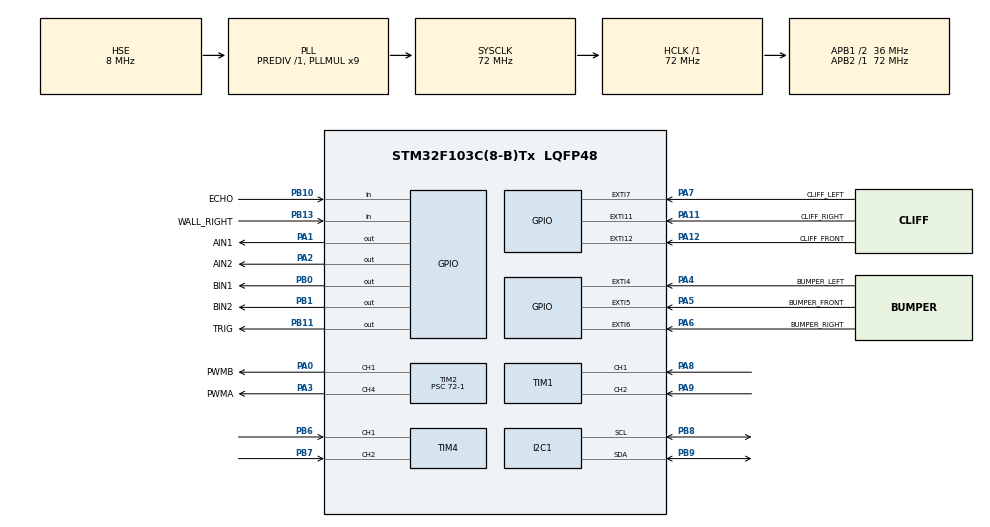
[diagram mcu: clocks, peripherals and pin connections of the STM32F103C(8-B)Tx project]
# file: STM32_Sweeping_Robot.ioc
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FREERTOS.INCLUDE_xTaskGetCurrentTaskHandle=1
FREERTOS.Tasks01=defaultTask,24,128,StartDefaultTask,Default,NULL,Dynamic,NULL,NULL;Task_Control,48,512,StartTask02,Default,NULL,Dynamic,NULL,NULL;Task_Sensor,32,256,StartTask03,Default,NULL,Dynamic,NULL,NULL;Task_Decision,24,256,StartTask04,Default,NULL,Dynamic,NULL,NULL
FREERTOS.configTOTAL_HEAP_SIZE=8192
Mcu.Family=STM32F1
Mcu.Name=STM32F103C(8-B)Tx
Mcu.Package=LQFP48
NVIC.EXTI15_10_IRQn=true\:1\:0\:true\:false\:true\:true\:true\:true\:true
NVIC.EXTI4_IRQn=true\:1\:0\:true\:false\:true\:true\:true\:true\:true
NVIC.EXTI9_5_IRQn=true\:1\:0\:true\:false\:true\:true\:true\:true\:true
NVIC.PriorityGroup=NVIC_PRIORITYGROUP_4
PA0-WKUP.GPIO_Label=PWMB
PA0-WKUP.Signal=S_TIM2_CH1_ETR
PA1.GPIO_Label=AIN1
PA1.PinState=GPIO_PIN_SET
PA1.Signal=GPIO_Output
PA11.GPIO_Label=CLIFF_RIGHT
PA11.GPIO_ModeDefaultEXTI=GPIO_MODE_IT_FALLING
PA11.GPIO_PuPd=GPIO_NOPULL
PA11.Signal=GPXTI11
PA12.GPIO_Label=CLIFF_FRONT
PA12.GPIO_ModeDefaultEXTI=GPIO_MODE_IT_FALLING
PA12.GPIO_PuPd=GPIO_NOPULL
PA12.Signal=GPXTI12
PA13.Mode=Serial_Wire
PA13.Signal=SYS_JTMS-SWDIO
PA14.Mode=Serial_Wire
PA14.Signal=SYS_JTCK-SWCLK
PA2.GPIO_Label=AIN2
PA2.Signal=GPIO_Output
PA3.GPIO_Label=PWMA
PA3.Signal=S_TIM2_CH4
PA4.GPIO_Label=BUMPER_LEFT
PA4.GPIO_ModeDefaultEXTI=GPIO_MODE_IT_FALLING
PA4.GPIO_PuPd=GPIO_PULLUP
PA4.Signal=GPXTI4
PA5.GPIO_Label=BUMPER_FRONT
PA5.GPIO_ModeDefaultEXTI=GPIO_MODE_IT_FALLING
PA5.GPIO_PuPd=GPIO_PULLUP
PA5.Signal=GPXTI5
PA6.GPIO_Label=BUMPER_RIGHT
PA6.GPIO_ModeDefaultEXTI=GPIO_MODE_IT_FALLING
PA6.GPIO_PuPd=GPIO_PULLUP
PA6.Signal=GPXTI6
PA7.GPIO_Label=CLIFF_LEFT
PA7.GPIO_ModeDefaultEXTI=GPIO_MODE_IT_FALLING
PA7.GPIO_PuPd=GPIO_NOPULL
PA7.Signal=GPXTI7
PA8.Signal=S_TIM1_CH1
PA9.Signal=S_TIM1_CH2
PB0.GPIO_Label=BIN1
PB0.Signal=GPIO_Output
PB1.GPIO_Label=BIN2
PB1.Signal=GPIO_Output
PB10.GPIO_Label=ECHO
PB10.Signal=GPIO_Input
PB11.GPIO_Label=TRIG
PB11.Signal=GPIO_Output
PB13.GPIO_Label=WALL_RIGHT
PB13.Signal=GPIO_Input
PB6.Signal=S_TIM4_CH1
PB7.Signal=S_TIM4_CH2
PB8.Mode=I2C
PB8.Signal=I2C1_SCL
PB9.Mode=I2C
PB9.Signal=I2C1_SDA
PC14-OSC32_IN.Mode=LSE-External-Oscillator
PC14-OSC32_IN.Signal=RCC_OSC32_IN
PC15-OSC32_OUT.Mode=LSE-External-Oscillator
PC15-OSC32_OUT.Signal=RCC_OSC32_OUT
PD0-OSC_IN.Mode=HSE-External-Oscillator
PD0-OSC_IN.Signal=RCC_OSC_IN
PD1-OSC_OUT.Mode=HSE-External-Oscillator
PD1-OSC_OUT.Signal=RCC_OSC_OUT
ProjectManager.HeapSize=0x200
ProjectManager.StackSize=0x400
ProjectManager.TargetToolchain=MDK-ARM V5.32
RCC.AHBFreq_Value=72000000
RCC.APB1CLKDivider=RCC_HCLK_DIV2
RCC.APB1Freq_Value=36000000
RCC.APB1TimFreq_Value=72000000
RCC.APB2Freq_Value=72000000
RCC.APB2TimFreq_Value=72000000
RCC.HCLKFreq_Value=72000000
RCC.PLLMUL=RCC_PLL_MUL9
RCC.PLLSourceVirtual=RCC_PLLSOURCE_HSE
RCC.SYSCLKFreq_VALUE=72000000
RCC.SYSCLKSource=RCC_SYSCLKSOURCE_PLLCLK
RCC.USBFreq_Value=72000000
SH.S_TIM1_CH1.0=TIM1_CH1,Encoder_Interface
SH.S_TIM1_CH2.0=TIM1_CH2,Encoder_Interface
SH.S_TIM2_CH1_ETR.0=TIM2_CH1,PWM Generation1 CH1
SH.S_TIM2_CH4.0=TIM2_CH4,PWM Generation4 CH4
SH.S_TIM4_CH1.0=TIM4_CH1,Encoder_Interface
SH.S_TIM4_CH2.0=TIM4_CH2,Encoder_Interface
TIM2.Channel-PWM\ Generation1\ CH1=TIM_CHANNEL_1
TIM2.Channel-PWM\ Generation4\ CH4=TIM_CHANNEL_4
TIM2.Period=1000-1
TIM2.Prescaler=72-1
TIM3.Prescaler=72-1
VP_FREERTOS_VS_CMSIS_V2.Mode=CMSIS_V2
VP_TIM2_VS_ClockSourceINT.Mode=Internal
VP_TIM3_VS_ClockSourceINT.Mode=Internal
board=custom

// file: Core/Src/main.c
/* USER CODE BEGIN Header */
/**
 ******************************************************************************
 * @file           : main.c
 * @brief          : Main program body
 ******************************************************************************
 * @attention
 *
 * Copyright (c) 2026 STMicroelectronics.
 * All rights reserved.
 *
 * This software is licensed under terms that can be found in the LICENSE file
 * in the root directory of this software component.
 * If no LICENSE file comes with this software, it is provided AS-IS.
 *
 ******************************************************************************
 */
/* USER CODE END Header */
#include "main.h"
#include "cmsis_os.h"
#include "gpio.h"
#include "i2c.h"
#include "tim.h"

/* USER CODE BEGIN Includes */

#include "bumper.h"
#include "cliff.h"
#include "hc_sr04.h"
#include "motor.h"
#include "mpu6050.h"
#include "navi.h"

/* USER CODE END Includes */

void SystemClock_Config(void);
void MX_FREERTOS_Init(void);

/* USER CODE BEGIN 0 */

volatile uint8_t is_crashed = 0; // 碰撞标志位（加 volatile 防优化）

// 弓字形状态机专属变量
uint8_t zigzag_state = 0; // 0:巡航直行, 1:换道第一转, 2:换道平移, 3:换道第二转
float turn_dir = 1.0f; // 转向乘数：1.0f代表向左U-Turn，-1.0f代表向右U-Turn
uint32_t last_sonar_time = 0;    // 超声波读取节拍器
uint8_t obstacle_confidence = 0; // 避障信心计数器
uint8_t wall_detected = 0; // 传感器任务通过这个变量通知决策任务

/* USER CODE END 0 */

int main(void)
{

  /* MCU Configuration--------------------------------------------------------*/

  /* Reset of all peripherals, Initializes the Flash interface and the Systick.
   */
  HAL_Init();

  /* Configure the system clock */
  SystemClock_Config();

  /* Initialize all configured peripherals */
  MX_GPIO_Init();
  MX_TIM2_Init();
  MX_TIM3_Init();
  MX_I2C1_Init();
  MX_TIM1_Init();
  MX_TIM4_Init();

  /* Init scheduler */
  osKernelInitialize();

  /* Call init function for freertos objects (in cmsis_os2.c) */
  MX_FREERTOS_Init();

  /* Start scheduler */
  osKernelStart();

  /* We should never get here as control is now taken by the scheduler */

  /* Infinite loop */
  while (1)
  {

  }
}

void SystemClock_Config(void)
{
  RCC_OscInitTypeDef RCC_OscInitStruct = {0};
  RCC_ClkInitTypeDef RCC_ClkInitStruct = {0};

  /** Initializes the RCC Oscillators according to the specified parameters
   * in the RCC_OscInitTypeDef structure.
   */
  RCC_OscInitStruct.OscillatorType = RCC_OSCILLATORTYPE_HSE;
  RCC_OscInitStruct.HSEState = RCC_HSE_ON;
  RCC_OscInitStruct.HSEPredivValue = RCC_HSE_PREDIV_DIV1;
  RCC_OscInitStruct.HSIState = RCC_HSI_ON;
  RCC_OscInitStruct.PLL.PLLState = RCC_PLL_ON;
  RCC_OscInitStruct.PLL.PLLSource = RCC_PLLSOURCE_HSE;
  RCC_OscInitStruct.PLL.PLLMUL = RCC_PLL_MUL9;
  if (HAL_RCC_OscConfig(&RCC_OscInitStruct) != HAL_OK)
  {
    Error_Handler();
  }

  /** Initializes the CPU, AHB and APB buses clocks
   */
  RCC_ClkInitStruct.ClockType = RCC_CLOCKTYPE_HCLK | RCC_CLOCKTYPE_SYSCLK |
                                RCC_CLOCKTYPE_PCLK1 | RCC_CLOCKTYPE_PCLK2;
  RCC_ClkInitStruct.SYSCLKSource = RCC_SYSCLKSOURCE_PLLCLK;
  RCC_ClkInitStruct.AHBCLKDivider = RCC_SYSCLK_DIV1;
  RCC_ClkInitStruct.APB1CLKDivider = RCC_HCLK_DIV2;
  RCC_ClkInitStruct.APB2CLKDivider = RCC_HCLK_DIV1;

  if (HAL_RCC_ClockConfig(&RCC_ClkInitStruct, FLASH_LATENCY_2) != HAL_OK)
  {
    Error_Handler();
  }
}

void Error_Handler(void)
{
  /* USER CODE BEGIN Error_Handler_Debug */
  /* User can add his own implementation to report the HAL error return state
   */
  __disable_irq();
  while (1)
  {
  }
  /* USER CODE END Error_Handler_Debug */
}

#ifdef USE_FULL_ASSERT
/**
 * @brief  Reports the name of the source file and the source line number
 *         where the assert_param error has occurred.
 * @param  file: pointer to the source file name
 * @param  line: assert_param error line source number
 * @retval None
 */
void assert_failed(uint8_t *file, uint32_t line)
{
  /* USER CODE BEGIN 6 */
  /* User can add his own implementation to report the file name and line
     number, ex: printf("Wrong parameters value: file %s on line %d\r\n",
     file, line) */
  /* USER CODE END 6 */
}
#endif /* USE_FULL_ASSERT */

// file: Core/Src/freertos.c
/* USER CODE BEGIN Header */
/**
 ******************************************************************************
 * File Name          : freertos.c
 * Description        : Code for freertos applications
 ******************************************************************************
 * @attention
 *
 * Copyright (c) 2026 STMicroelectronics.
 * All rights reserved.
 *
 * This software is licensed under terms that can be found in the LICENSE file
 * in the root directory of this software component.
 * If no LICENSE file comes with this software, it is provided AS-IS.
 *
 ******************************************************************************
 */
/* USER CODE END Header */

#include "FreeRTOS.h"
#include "cmsis_os.h"
#include "main.h"
#include "task.h"

/* USER CODE BEGIN Includes */
#include "bumper.h"
#include "cliff.h"
#include "hc_sr04.h"
#include "motor.h"
#include "mpu6050.h"
#include "navi.h"
#include <stdlib.h> // 用于 rand() 随机数

/* USER CODE END Includes */

/* USER CODE BEGIN PD */
extern uint8_t zigzag_state;
extern float turn_dir;
extern uint8_t obstacle_confidence;
extern uint8_t wall_detected;
/* USER CODE END PD */

/* Definitions for defaultTask */
osThreadId_t defaultTaskHandle;
const osThreadAttr_t defaultTask_attributes = {
    .name = "defaultTask",
    .stack_size = 128 * 4,
    .priority = (osPriority_t)osPriorityNormal,
};
/* Definitions for Task_Control */
osThreadId_t Task_ControlHandle;
const osThreadAttr_t Task_Control_attributes = {
    .name = "Task_Control",
    .stack_size = 512 * 4,
    .priority = (osPriority_t)osPriorityRealtime,
};
/* Definitions for Task_Sensor */
osThreadId_t Task_SensorHandle;
const osThreadAttr_t Task_Sensor_attributes = {
    .name = "Task_Sensor",
    .stack_size = 256 * 4,
    .priority = (osPriority_t)osPriorityAboveNormal,
};
/* Definitions for Task_Decision */
osThreadId_t Task_DecisionHandle;
const osThreadAttr_t Task_Decision_attributes = {
    .name = "Task_Decision",
    .stack_size = 256 * 4,
    .priority = (osPriority_t)osPriorityNormal,
};

void StartDefaultTask(void *argument);
void StartTask02(void *argument);
void StartTask03(void *argument);
void StartTask04(void *argument);

void MX_FREERTOS_Init(void); /* (MISRA C 2004 rule 8.1) */

void MX_FREERTOS_Init(void)
{

  /* Create the thread(s) */
  /* creation of defaultTask */
  defaultTaskHandle =
      osThreadNew(StartDefaultTask, NULL, &defaultTask_attributes);

  /* creation of Task_Control */
  Task_ControlHandle = osThreadNew(StartTask02, NULL, &Task_Control_attributes);

  /* creation of Task_Sensor */
  Task_SensorHandle = osThreadNew(StartTask03, NULL, &Task_Sensor_attributes);

  /* creation of Task_Decision */
  Task_DecisionHandle =
      osThreadNew(StartTask04, NULL, &Task_Decision_attributes);

}

void StartDefaultTask(void *argument)
{
  for (;;)
  {
    osDelay(1);
  }
}

/* USER CODE BEGIN Header_StartTask02 */
/**
* @brief Function implementing the Task_Control thread.
* @param argument: Not used
* @retval None
  任务 1：底层控制大脑 (10ms 绝对实时周期)替代了原来的 flag_10ms，负责按住 PID
*/
/* USER CODE END Header_StartTask02 */
void StartTask02(void *argument)
{
  /* USER CODE BEGIN StartTask02 */

  osDelay(500);
  Motor_Init();   // 电机初始化
  HCSR04_Init();  // 超声波初始化
  Bumper_Init();  // 碰撞开关初始化
  Cliff_Init();   // 悬崖传感器初始化
  MPU6050_Init(); // MPU6050 初始化

  osDelay(500);        // 给 MPU6050 稳定时间
  MPU6050_Calibrate(); // MPU6050 校准（这里内部用了 HAL_Delay）
  Navi_Init();         // 导航初始化

  HAL_TIM_Encoder_Start(&htim4, TIM_CHANNEL_ALL); // 启动编码器
  HAL_TIM_Encoder_Start(&htim1, TIM_CHANNEL_ALL);
  /* Infinite loop */
  for (;;)
  {
    osDelay(10);   // 精准 10ms
    Navi_Update(); // 姿态解算 + PID闭环
  }
  /* USER CODE END StartTask02 */
}

/* USER CODE BEGIN Header_StartTask03 */
/**
* @brief Function implementing the Task_Sensor thread.
* @param argument: Not used
* @retval None
  任务 2：环境感知雷达 (50ms 周期) 替代了原来的 last_sonar_time 逻辑
*/
/* USER CODE END Header_StartTask03 */
void StartTask03(void *argument)
{
  /* USER CODE BEGIN StartTask03 */
  /* Infinite loop */
  for (;;)
  {
    osDelay(50);

    float dist = HCSR04_Read();

    // 信心计数器逻辑
    if (dist > 2.0f && dist < 15.0f)
    {
      if (obstacle_confidence < 10)
        obstacle_confidence++;
    }
    else
    {
      if (obstacle_confidence > 0)
        obstacle_confidence--;
    }

    if (obstacle_confidence >= 3)
    {
      wall_detected = 1; // 发现墙壁，拉响全局警报
      obstacle_confidence = 0;
    }
  }
  /* USER CODE END StartTask03 */
}

/* USER CODE BEGIN Header_StartTask04 */
/**
 * @brief Function implementing the Task_Decision thread.
 * @param argument: Not used
 * @retval None
  任务 3：路径规划司令部 (100ms 周期) 弓字形算法、悬崖、物理碰撞的决策
 */
/* USER CODE END Header_StartTask04 */
void StartTask04(void *argument)
{
  /* USER CODE BEGIN StartTask04 */
  /* Infinite loop */
  for (;;)
  {
    // 决策周期 50ms，与超声波刷新率完美同步
    osDelay(50);

    // ==========================================
    // 优先级 1：悬崖保命（绝对生死底线）
    // ==========================================
    if (Cliff_GetState() != CLIFF_SAFE)
    {
      Navi_Escape_Backward(-35, 600); // 倒车，非阻塞退 600ms
      Navi_Turn_Angle(150.0f);        // 大角度甩尾逃生

      Cliff_ClearState(); // 清除警报
      zigzag_state = 0;   // 重新开始直行巡航
      continue; // 危险处理完毕，直接跳入下一轮循环（不往下执行）
    }

    // ==========================================
    // 优先级 2：物理碰撞微动开关（超声波盲区防线）
    // ==========================================
    if (Bumper_GetState() != BUMPER_NONE)
    {
      Navi_Escape_Backward(-30, 500);
      Navi_Turn_Angle(-150.0f);

      Bumper_ClearState();
      zigzag_state = 0;
      turn_dir = 1.0f; // 撞墙后重置下一次的默认转弯方向
      continue;
    }

    // ==========================================
    // 优先级 3 & 4：超声波避障与弓字形状态机
    // ==========================================
    float dist = HCSR04_Read(); // 获取安全的测距数据

    // 情况 A：直行巡航时遇到障碍物（触发 U 型弯的第一转）
    if (dist < 20.0f && dist > 0.0f && zigzag_state == 0)
    {
      Navi_Set_Straight(0); // 1. 刹车停稳
      osDelay(200);

      Navi_Escape_Backward(-30, 300); // 2. 稍微倒退，给车头留出转弯扫掠空间

      Navi_Turn_Angle(90.0f * turn_dir); // 3. 第一次 90 度原地转弯
      osDelay(200);

      // 4. 清空底层里程计，准备进入横向平移测量阶段
      global_mileage_L = 0;
      global_mileage_R = 0;

      zigzag_state = 2; // 切换到状态 2（平移换道）
    }
    // 情况 B：横向平移时竟然遇到障碍物（卡进死角或遇到窄巷）
    else if (dist < 20.0f && dist > 0.0f && zigzag_state == 2)
    {
      Navi_Set_Straight(0);
      osDelay(200);

      Navi_Escape_Backward(-30, 400);
      Navi_Turn_Angle(180.0f); // 放弃换道，直接掉头逃离
      osDelay(200);

      zigzag_state = 0; // 重新开始直行
    }
    // 情况 C：前方开阔安全，执行常规的弓字形清扫动作
    else
    {
      if (zigzag_state == 0)
      {
        // 状态 0：安心直线巡航清扫
        Navi_Set_Straight(30);
      }
      else if (zigzag_state == 2)
      {
        // 状态 2：横向平移换道
        Navi_Set_Straight(25);

        // 获取编码器平均脉冲数计算平移距离
        int32_t avg_pulses = (global_mileage_L + global_mileage_R) / 2;

        // 当脉冲数超过 1659 (约等于 16cm 车体宽度) 时，停止平移
        if (avg_pulses > 1659)
        {
          Navi_Set_Straight(0); // 刹车
          osDelay(200);
          zigzag_state = 3; // 触发换道结束的第二次转弯
        }
      }
      else if (zigzag_state == 3)
      {
        // 状态 3：换道末尾的第二次 90 度转弯
        Navi_Turn_Angle(90.0f * turn_dir);
        osDelay(200);

        // 转完之后，将下一次遇墙时的转弯方向取反
        turn_dir = -turn_dir;
        zigzag_state = 0; // 无缝切回直行清扫状态
      }
    }
  }
  /* USER CODE END StartTask04 */
}

/* USER CODE BEGIN Application */

/* ========================================================= */
/* 利用 FreeRTOS 滴答钩子喂养 HAL 库心跳 */
/* ========================================================= */
void vApplicationTickHook(void)
{
  // 每次 FreeRTOS 心跳 (1ms) 时，帮 HAL 库加一下时间
  //  HAL_Delay() 彻底解冻了，不需要额外的硬件定时器！
  HAL_IncTick();
}

/* USER CODE END Application */
